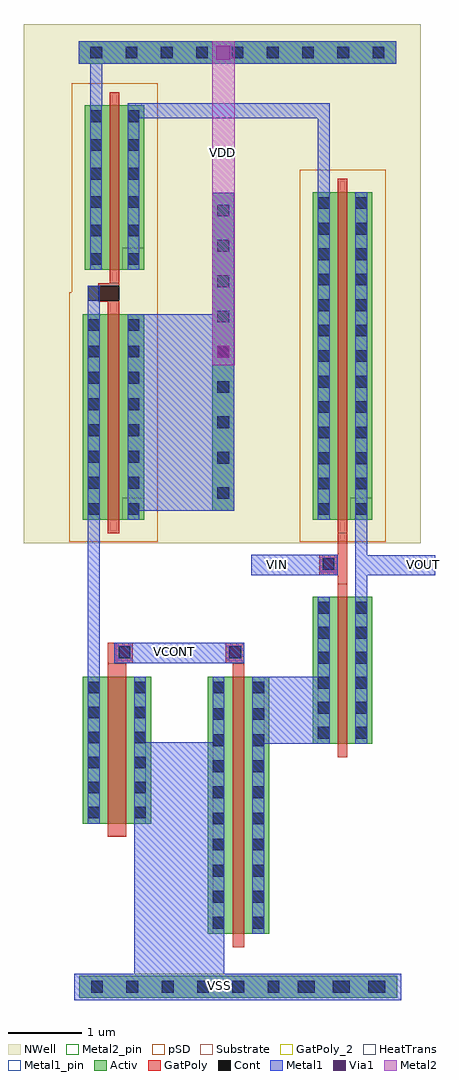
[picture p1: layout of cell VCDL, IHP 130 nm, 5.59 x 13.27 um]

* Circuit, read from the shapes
.subckt VCDL VCONT VDD VIN VOUT VSS
XM1 VSS VCONT n1 VSS sg13_lv_nmos w=2u l=0.25u
XM2 n2 VCONT VSS VSS sg13_lv_nmos w=3.5u l=0.16u
XM3 VOUT VIN n2 VSS sg13_lv_nmos w=2u l=0.13u
XM4 VDD n1 n1 VDD sg13_lv_pmos w=2.8u l=0.16u
XM5 n3 n1 VDD VDD sg13_lv_pmos w=2.24u l=0.13u
XM6 VOUT VIN n3 VDD sg13_lv_pmos w=4.46u l=0.13u
.ends

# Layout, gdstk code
import gdstk
lib = gdstk.Library(unit=1e-6, precision=1e-09)
def R(c, l, rs):  # rectangles x0, y0, x1, y1
    for r in rs: c.add(gdstk.rectangle(r[:2], r[2:], *l))
def A(c, l, x, y, w, h, nx, ny, dx, dy):  # array of equal rectangles
    R(c, l, [(x+i*dx, y+j*dy, x+i*dx+w, y+j*dy+h) for i in range(nx) for j in range(ny)])
Activ = (1, 0)
GatPoly = (5, 0)
GatPoly_2 = (5, 2)
Cont = (6, 0)
Metal1 = (8, 0)
Metal1_pin = (8, 2)
Metal2 = (10, 0)
Metal2_pin = (10, 2)
pSD = (14, 0)
Via1 = (19, 0)
NWell = (31, 0)
Substrate = (40, 0)
HeatTrans = (51, 0)

nmos = lib.new_cell('nmos')
R(nmos, Activ, [(0,0,0.3,0.3), (0,0,0.81,2), (0.51,0,0.81,0.3)])
R(nmos, GatPoly, [(0.34,-0.18,0.47,2.18)])
R(nmos, GatPoly_2, [(0.34,-0.18,0.47,2.18)])
A(nmos, Cont, 0.07, 0.07, 0.16, 0.16, 1, 6, 0, 0.34)
A(nmos, Cont, 0.58, 0.07, 0.16, 0.16, 1, 6, 0, 0.34)
R(nmos, Metal1, [(0.07,0,0.23,2), (0.58,0,0.74,2)])
R(nmos, Metal1_pin, [(0.07,0,0.23,2), (0.58,0,0.74,2)])
R(nmos, HeatTrans, [(0.34,-0.18,0.47,2.18)])
nmos.add(gdstk.Label('nmos', (0.405,1), layer=63, texttype=0))
nmos.add(gdstk.Label('nmos', (0.405,1), layer=51, texttype=0))

pmos_1 = lib.new_cell('pmos$1')
R(pmos_1, Activ, [(0,0,0.3,0.3), (0,0,0.84,2.8), (0.54,0,0.84,0.3)])
R(pmos_1, GatPoly, [(0.34,-0.18,0.5,2.98), (0.34,-0.18,0.5,2.98)])
A(pmos_1, Cont, 0.07, 0.07, 0.16, 0.16, 1, 3, 0, 0.355)
A(pmos_1, Cont, 0.61, 0.07, 0.16, 0.16, 1, 3, 0, 0.355)
R(pmos_1, Cont, [(0.07,1.14,0.23,1.3), (0.61,1.14,0.77,1.3), (0.07,1.495,0.23,1.655), (0.61,1.495,0.77,1.655), (0.07,1.855,0.23,2.015), (0.61,1.855,0.77,2.015), (0.07,2.21,0.23,2.37), (0.61,2.21,0.77,2.37), (0.07,2.57,0.23,2.73), (0.61,2.57,0.77,2.73)])
R(pmos_1, Metal1, [(0.07,0,0.23,2.8), (0.07,0,0.23,2.8), (0.61,0,0.77,2.8), (0.61,0,0.77,2.8)])
R(pmos_1, pSD, [(-0.18,-0.3,1.02,3.1)])
R(pmos_1, NWell, [(-0.31,-0.31,1.15,3.11)])
R(pmos_1, Substrate, [(0.54,0,0.84,0.3)])
R(pmos_1, HeatTrans, [(0.34,-0.18,0.5,2.98)])
pmos_1.add(gdstk.Label('pmos', (0.42,1.4), layer=63, texttype=0))
pmos_1.add(gdstk.Label('pmos', (0.42,1.4), layer=51, texttype=0))

pmos = lib.new_cell('pmos')
R(pmos, Activ, [(0,0,0.3,0.3), (0,0,0.81,4.46), (0.51,0,0.81,0.3)])
R(pmos, GatPoly, [(0.34,-0.18,0.47,4.64), (0.34,-0.18,0.47,4.64)])
A(pmos, Cont, 0.07, 0.07, 0.16, 0.16, 1, 3, 0, 0.345)
A(pmos, Cont, 0.58, 0.07, 0.16, 0.16, 1, 3, 0, 0.345)
A(pmos, Cont, 0.07, 1.11, 0.16, 0.16, 1, 3, 0, 0.345)
A(pmos, Cont, 0.58, 1.11, 0.16, 0.16, 1, 3, 0, 0.345)
A(pmos, Cont, 0.07, 2.15, 0.16, 0.16, 1, 3, 0, 0.345)
A(pmos, Cont, 0.58, 2.15, 0.16, 0.16, 1, 3, 0, 0.345)
A(pmos, Cont, 0.07, 3.19, 0.16, 0.16, 1, 3, 0, 0.345)
A(pmos, Cont, 0.58, 3.19, 0.16, 0.16, 1, 3, 0, 0.345)
R(pmos, Cont, [(0.07,4.23,0.23,4.39), (0.58,4.23,0.74,4.39)])
R(pmos, Metal1, [(0.07,0,0.23,4.46), (0.07,0,0.23,4.46), (0.58,0,0.74,4.46), (0.58,0,0.74,4.46)])
R(pmos, pSD, [(-0.18,-0.3,0.99,4.76)])
R(pmos, NWell, [(-0.31,-0.31,1.12,4.77)])
R(pmos, Substrate, [(0.51,0,0.81,0.3)])
R(pmos, HeatTrans, [(0.34,-0.18,0.47,4.64)])
pmos.add(gdstk.Label('pmos', (0.405,2.23), layer=63, texttype=0))
pmos.add(gdstk.Label('pmos', (0.405,2.23), layer=51, texttype=0))

pmos_2 = lib.new_cell('pmos$2')
R(pmos_2, Activ, [(0,0,0.3,0.3), (0,0,0.81,2.24), (0.51,0,0.81,0.3)])
R(pmos_2, GatPoly, [(0.34,-0.18,0.47,2.42), (0.34,-0.18,0.47,2.42)])
A(pmos_2, Cont, 0.07, 1.23, 0.16, 0.16, 1, 3, 0, 0.39)
A(pmos_2, Cont, 0.58, 1.23, 0.16, 0.16, 1, 3, 0, 0.39)
R(pmos_2, Cont, [(0.07,0.07,0.23,0.23), (0.58,0.07,0.74,0.23), (0.07,0.455,0.23,0.615), (0.58,0.455,0.74,0.615), (0.07,0.845,0.23,1.005), (0.58,0.845,0.74,1.005)])
R(pmos_2, Metal1, [(0.07,0,0.23,2.24), (0.07,0,0.23,2.24), (0.58,0,0.74,2.24), (0.58,0,0.74,2.24)])
R(pmos_2, pSD, [(-0.18,-0.3,0.99,2.54)])
R(pmos_2, NWell, [(-0.31,-0.31,1.12,2.55)])
R(pmos_2, Substrate, [(0.51,0,0.81,0.3)])
R(pmos_2, HeatTrans, [(0.34,-0.18,0.47,2.42)])
pmos_2.add(gdstk.Label('pmos', (0.405,1.12), layer=63, texttype=0))
pmos_2.add(gdstk.Label('pmos', (0.405,1.12), layer=51, texttype=0))

nmos_2 = lib.new_cell('nmos$2')
R(nmos_2, Activ, [(0,0,0.3,0.3), (0,0,0.93,2), (0.63,0,0.93,0.3)])
R(nmos_2, GatPoly, [(0.34,-0.18,0.59,2.18)])
R(nmos_2, GatPoly_2, [(0.34,-0.18,0.59,2.18)])
A(nmos_2, Cont, 0.07, 0.07, 0.16, 0.16, 1, 6, 0, 0.34)
A(nmos_2, Cont, 0.7, 0.07, 0.16, 0.16, 1, 6, 0, 0.34)
R(nmos_2, Metal1, [(0.07,0,0.23,2), (0.7,0,0.86,2)])
R(nmos_2, Metal1_pin, [(0.07,0,0.23,2), (0.7,0,0.86,2)])
R(nmos_2, HeatTrans, [(0.34,-0.18,0.59,2.18)])
nmos_2.add(gdstk.Label('nmos', (0.465,1), layer=63, texttype=0))
nmos_2.add(gdstk.Label('nmos', (0.465,1), layer=51, texttype=0))

nmos_1 = lib.new_cell('nmos$1')
R(nmos_1, Activ, [(0,0,0.3,0.3), (0,0,0.84,3.5), (0.54,0,0.84,0.3)])
R(nmos_1, GatPoly, [(0.34,-0.18,0.5,3.68)])
R(nmos_1, GatPoly_2, [(0.34,-0.18,0.5,3.68)])
A(nmos_1, Cont, 0.07, 0.07, 0.16, 0.16, 1, 9, 0, 0.355)
A(nmos_1, Cont, 0.61, 0.07, 0.16, 0.16, 1, 9, 0, 0.355)
R(nmos_1, Cont, [(0.07,3.27,0.23,3.43), (0.61,3.27,0.77,3.43)])
R(nmos_1, Metal1, [(0.07,0,0.23,3.5), (0.61,0,0.77,3.5)])
R(nmos_1, Metal1_pin, [(0.07,0,0.23,3.5), (0.61,0,0.77,3.5)])
R(nmos_1, HeatTrans, [(0.34,-0.18,0.5,3.68)])
nmos_1.add(gdstk.Label('nmos', (0.42,1.75), layer=63, texttype=0))
nmos_1.add(gdstk.Label('nmos', (0.42,1.75), layer=51, texttype=0))

vcdl = lib.new_cell('VCDL')
R(vcdl, Activ, [(6.916,7.611,8.356,7.911), (6.916,7.611,8.356,7.911), (8.356,7.611,9.796,7.911), (8.356,7.611,9.796,7.911), (9.796,7.611,11.236,7.911), (9.796,7.611,11.236,7.911), (8.723,14.237,9.023,15.677), (8.723,15.677,9.023,17.117), (8.723,17.117,9.023,18.558), (6.904,20.317,8.345,20.617), (8.345,20.317,9.785,20.617), (9.785,20.317,11.225,20.617)])
R(vcdl, GatPoly, [(7.301,12.16,7.64,12.439), (8.909,12.16,9.159,12.439), (10.43,13.244,10.56,13.93), (10.18,13.359,10.43,13.638), (7.175,17.079,7.461,17.33)])
R(vcdl, Cont, [(7.076,7.681,7.236,7.841), (7.076,7.681,7.236,7.841), (7.076,7.681,7.236,7.841), (7.076,7.681,7.236,7.841), (7.556,7.681,7.716,7.841), (7.556,7.681,7.716,7.841), (7.556,7.681,7.716,7.841), (7.556,7.681,7.716,7.841), (8.036,7.681,8.196,7.841), (8.036,7.681,8.196,7.841), (8.036,7.681,8.196,7.841), (8.036,7.681,8.196,7.841), (8.516,7.681,8.676,7.841), (8.516,7.681,8.676,7.841), (8.516,7.681,8.676,7.841), (8.516,7.681,8.676,7.841), (8.996,7.681,9.156,7.841), (8.996,7.681,9.156,7.841), (8.996,7.681,9.156,7.841), (8.996,7.681,9.156,7.841), (9.476,7.681,9.636,7.841), (9.476,7.681,9.636,7.841), (9.476,7.681,9.636,7.841), (9.476,7.681,9.636,7.841), (9.883,7.681,10.043,7.841), (9.883,7.681,10.043,7.841), (9.883,7.681,10.043,7.841), (9.883,7.681,10.043,7.841), (9.956,7.681,10.116,7.841), (9.956,7.681,10.116,7.841), (9.956,7.681,10.116,7.841), (9.956,7.681,10.116,7.841), (10.363,7.681,10.523,7.841), (10.363,7.681,10.523,7.841), (10.363,7.681,10.523,7.841), (10.363,7.681,10.523,7.841), (10.436,7.681,10.596,7.841), (10.436,7.681,10.596,7.841), (10.436,7.681,10.596,7.841), (10.436,7.681,10.596,7.841), (10.843,7.681,11.003,7.841), (10.843,7.681,11.003,7.841), (10.843,7.681,11.003,7.841), (10.843,7.681,11.003,7.841), (10.916,7.681,11.076,7.841), (10.916,7.681,11.076,7.841), (10.916,7.681,11.076,7.841), (10.916,7.681,11.076,7.841), (7.45,12.23,7.61,12.39), (8.954,12.232,9.114,12.392), (10.225,13.431,10.385,13.591), (8.793,14.397,8.953,14.557), (8.793,14.397,8.953,14.557), (8.793,14.877,8.953,15.037), (8.793,14.877,8.953,15.037), (8.793,15.357,8.953,15.517), (8.793,15.357,8.953,15.517), (8.793,15.837,8.953,15.997), (8.793,15.837,8.953,15.997), (8.793,16.317,8.953,16.477), (8.793,16.317,8.953,16.477), (8.793,16.797,8.953,16.957), (8.793,16.797,8.953,16.957), (7.031,17.09,7.461,17.298), (7.256,17.115,7.416,17.275), (8.793,17.277,8.953,17.438), (8.793,17.277,8.953,17.438), (8.793,17.758,8.953,17.918), (8.793,17.758,8.953,17.918), (8.793,18.238,8.953,18.398), (8.793,18.238,8.953,18.398), (7.064,20.387,7.224,20.547), (7.064,20.387,7.224,20.547), (7.544,20.387,7.704,20.547), (7.544,20.387,7.704,20.547), (8.024,20.387,8.185,20.547), (8.024,20.387,8.185,20.547), (8.505,20.387,8.665,20.547), (8.505,20.387,8.665,20.547), (8.985,20.387,9.145,20.547), (8.985,20.387,9.145,20.547), (9.465,20.387,9.625,20.547), (9.465,20.387,9.625,20.547), (9.945,20.387,10.105,20.547), (9.945,20.387,10.105,20.547), (10.425,20.387,10.585,20.547), (10.425,20.387,10.585,20.547), (10.905,20.387,11.065,20.547), (10.905,20.387,11.065,20.547)])
R(vcdl, Metal1, [(6.846,7.581,11.291,7.941), (6.846,7.581,11.291,7.941), (7.661,7.941,8.889,11.085), (9.269,11.064,10.32,11.98), (7.031,11.98,7.191,14.11), (7.39,12.16,9.159,12.439), (10.67,13.064,10.83,14.11), (9.253,13.359,10.43,13.638), (10.67,13.36,11.755,13.633), (7.571,14.235,9.023,16.91), (8.723,14.235,9.023,18.558), (7.031,16.91,7.191,17.298), (10.16,18.57,10.32,19.75), (7.571,19.574,10.32,19.774), (7.061,19.75,7.224,20.547), (6.904,20.317,11.227,20.617)])
R(vcdl, Metal1_pin, [(8.761,7.716,8.891,7.846), (8.145,12.25,8.275,12.38), (11.525,13.44,11.655,13.57), (9.54,13.445,9.67,13.575)])
R(vcdl, Metal2, [(8.723,16.217,9.028,20.617)])
R(vcdl, Metal2_pin, [(8.795,19.045,8.925,19.175)])
R(vcdl, pSD, [(6.846,7.581,8.426,7.941), (8.286,7.581,11.291,7.941)])
R(vcdl, Via1, [(8.793,16.317,8.953,16.477), (8.776,20.37,8.966,20.56)])
R(vcdl, NWell, [(6.16,13.795,11.561,20.855), (8.111,13.8,9.78,18.881), (8.111,18.88,11.21,20.06), (6.681,20.06,11.561,20.842)])
vcdl.add(gdstk.Reference(nmos, (10.09,11.064)))
vcdl.add(gdstk.Reference(pmos_1, (6.961,14.11)))
vcdl.add(gdstk.Reference(pmos, (10.09,14.11)))
vcdl.add(gdstk.Reference(pmos_2, (6.991,17.51)))
vcdl.add(gdstk.Reference(nmos_2, (6.961,9.98)))
vcdl.add(gdstk.Reference(nmos_1, (8.659,8.48)))
vcdl.add(gdstk.Label('VSS', (8.826,7.781), layer=8, texttype=25))
vcdl.add(gdstk.Label('VSS', (8.826,7.781), layer=8, texttype=25))
vcdl.add(gdstk.Label('VIN', (9.605,13.51), layer=8, texttype=25))
vcdl.add(gdstk.Label('VOUT', (11.59,13.505), layer=8, texttype=25))
vcdl.add(gdstk.Label('VCONT', (8.21,12.315), layer=8, texttype=25))
vcdl.add(gdstk.Label('VDD', (8.86,19.11), layer=10, texttype=25))

lib.write_gds('VCDL.gds')
